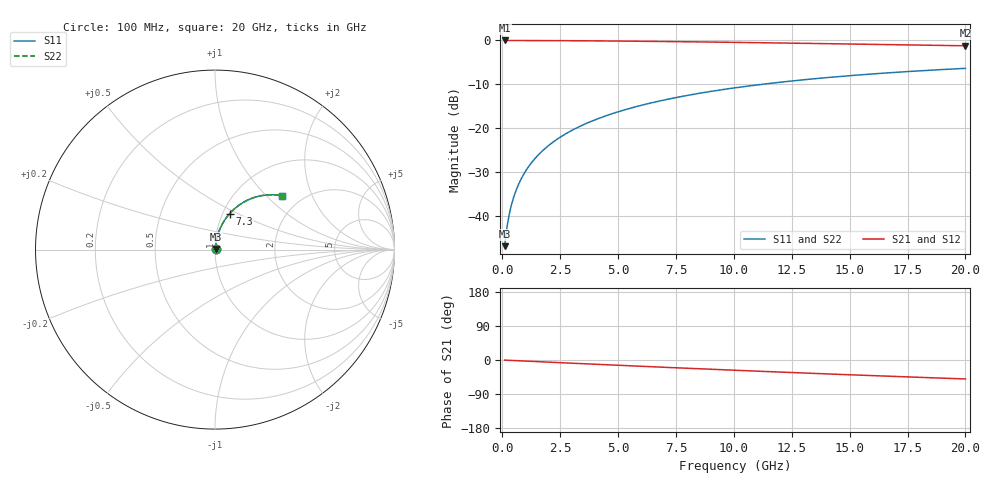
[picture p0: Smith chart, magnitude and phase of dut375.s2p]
! Touchstone file exported from HFSS 2026.1.0
!  File:  C:/ffzhzh/LocalFiles/Ansys_Project_Files/temp_train_BSMRDL_375_1783011847_4048.aedt
!  Generated:  01:05:50 AM Jul  3, 2026
!  Design:  BSMRDL
!  Project:  temp_train_BSMRDL_375_1783011847_4048
! Variables:
!  h_bsmrdl = 4.45um
!  h_ox = 20um
!  h_rdl = 5um
!  h_sub = 80um
!  h_tmrdl = 5um
!  h_tsv = 80um
!  h_via = 3um
!  l_bsmrdl = 725.55um
!  l_sub = 1125.55um
!  l_tmrdl = 200um
!  m_sub = 200um
!  pitch = 55.72um
!  r_tsv = 6um
!  s_tmrdl = 10um
!  w_bsmrdl = 20.72um
!  w_sub = 500um
!  w_tmrdl = 12um
!  x_tsv_center1 = 206um
!  x_tsv_center2 = 952.27um
!  x_tsv_center3 = 1164.27um
!  x_tsv_center4 = 1910.54um
!  x_tsv_center5 = 2122.54um
!  x_tsv_center6 = 2868.81um
# GHz S MA R 50.000000
! Terminal data exported
! Port[1] = BSM_RDL1_1_T1
! Port[2] = BSM_RDL1_1_T2
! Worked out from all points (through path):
!   200 points, 100 MHz to 20 GHz, reference 50 ohm
!   highest |S21| = -0.03 dB at 100 MHz (marker M1); lowest = -1.2 dB at 20 GHz (marker M2)
!   group delay of S21, straight-line fit = 6.95 ps
!   lowest |S11| = -47.0 dB at 100 MHz (marker M3), VSWR 1.01, Z = 50.3 + j0.337 ohm
!   |S11| at or under -10 dB: start of sweep to 11.28 GHz
!   |S22| runs from -47.0 to -6.4 dB; largest |S21 - S12| = 1.2e-14
!   S11 on the Smith chart (normalised r, x): 100 MHz: 1.01, +0.01; 7.3 GHz: 1.08, +0.45; 20 GHz: 1.60, +1.24
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0.1  0.004465 48.6  0.9971 -0.3  0.9971 -0.3  0.004465 48.6
! Gamma 0 0 0 0
! Port Impedance 50 0 50 0
0.2  0.007314 64.5  0.9969 -0.6  0.9969 -0.6  0.007314 64.5
0.3  0.01033 71.0  0.9967 -0.9  0.9967 -0.9  0.01033 71.0
0.4  0.01338 74.4  0.9966 -1.2  0.9966 -1.2  0.01338 74.4
0.5  0.01644 76.6  0.9965 -1.4  0.9965 -1.4  0.01644 76.6
0.7  0.02261 79.0  0.9962 -2.0  0.9962 -2.0  0.02261 79.0
1  0.03193 80.6  0.9958 -2.8  0.9958 -2.8  0.03193 80.6
1.2  0.03815 80.9  0.9955 -3.4  0.9955 -3.4  0.03815 80.9
1.4  0.04437 81.0  0.9952 -4.0  0.9952 -4.0  0.04437 81.1
1.7  0.05369 80.9  0.9946 -4.8  0.9946 -4.8  0.05369 80.9
2  0.06298 80.5  0.9938 -5.7  0.9938 -5.7  0.06298 80.5
2.7  0.08448 79.2  0.9918 -7.6  0.9918 -7.6  0.08448 79.2
3.5  0.1087 77.4  0.9888 -9.8  0.9888 -9.8  0.1087 77.4
4.2  0.1295 75.7  0.9857 -11.7  0.9857 -11.7  0.1295 75.7
5  0.1527 73.6  0.9818 -13.9  0.9818 -13.9  0.1527 73.7
6.8  0.2032 69.1  0.9714 -18.7  0.9714 -18.7  0.2032 69.1
7.3  0.2167 67.8  0.9682 -20.0  0.9682 -20.0  0.2167 67.8
8.6  0.2508 64.6  0.9593 -23.4  0.9593 -23.4  0.2508 64.6
10.1  0.2882 60.9  0.9482 -27.2  0.9482 -27.2  0.2882 60.9
13.4  0.3628 53.1  0.9216 -35.3  0.9216 -35.3  0.3628 53.1
16.7  0.4262 45.7  0.8938 -42.9  0.8938 -42.9  0.4262 45.7
20  0.4789 38.7  0.8668 -50.0  0.8668 -50.0  0.4789 38.8
